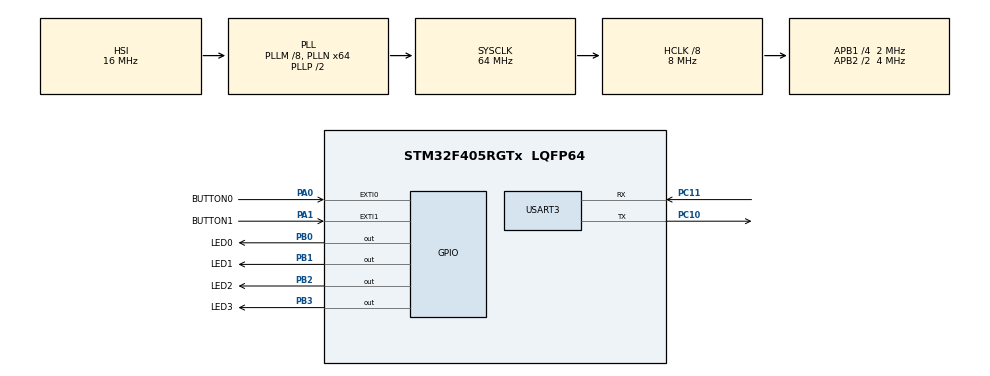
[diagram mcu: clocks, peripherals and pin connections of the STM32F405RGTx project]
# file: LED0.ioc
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FREERTOS.INCLUDE_vTaskDelayUntil=1
FREERTOS.Tasks01=defaultTask,-3,128,StartDefaultTask,Default,NULL,Dynamic,NULL,NULL;myTask02,-3,128,StartTask02,Default,NULL,Dynamic,NULL,NULL;myTask03,-3,128,StartTask03,Default,NULL,Dynamic,NULL,NULL
Mcu.Family=STM32F4
Mcu.Name=STM32F405RGTx
Mcu.Package=LQFP64
NVIC.EXTI0_IRQn=true\:5\:0\:false\:false\:true\:false\:true\:true\:true
NVIC.EXTI1_IRQn=true\:5\:0\:false\:false\:true\:false\:true\:true\:true
NVIC.PriorityGroup=NVIC_PRIORITYGROUP_4
NVIC.TIM1_UP_TIM10_IRQn=true\:15\:0\:false\:false\:true\:false\:false\:true\:true
NVIC.TIM2_IRQn=true\:5\:0\:false\:false\:true\:true\:true\:true\:true
NVIC.TimeBase=TIM1_UP_TIM10_IRQn
NVIC.TimeBaseIP=TIM1
NVIC.USART3_IRQn=true\:5\:0\:false\:false\:true\:true\:true\:true\:true
PA0-WKUP.GPIO_Label=BUTTON0
PA0-WKUP.GPIO_ModeDefaultEXTI=GPIO_MODE_IT_FALLING
PA0-WKUP.GPIO_PuPd=GPIO_PULLUP
PA0-WKUP.Signal=GPXTI0
PA1.GPIO_Label=BUTTON1
PA1.GPIO_ModeDefaultEXTI=GPIO_MODE_IT_FALLING
PA1.GPIO_PuPd=GPIO_PULLUP
PA1.Signal=GPXTI1
PA13.Mode=Serial_Wire
PA13.Signal=SYS_JTMS-SWDIO
PA14.Mode=Serial_Wire
PA14.Signal=SYS_JTCK-SWCLK
PB0.GPIO_Label=LED0
PB0.Signal=GPIO_Output
PB1.GPIO_Label=LED1
PB1.Signal=GPIO_Output
PB2.GPIO_Label=LED2
PB2.Signal=GPIO_Output
PB3.GPIO_Label=LED3
PB3.Signal=GPIO_Output
PC10.Mode=Asynchronous
PC10.Signal=USART3_TX
PC11.Mode=Asynchronous
PC11.Signal=USART3_RX
ProjectManager.HeapSize=0x200
ProjectManager.StackSize=0x400
ProjectManager.TargetToolchain=STM32CubeIDE
RCC.48MHZClocksFreq_Value=32000000
RCC.AHBCLKDivider=RCC_SYSCLK_DIV8
RCC.AHBFreq_Value=8000000
RCC.APB1CLKDivider=RCC_HCLK_DIV4
RCC.APB1Freq_Value=2000000
RCC.APB1TimFreq_Value=4000000
RCC.APB2CLKDivider=RCC_HCLK_DIV2
RCC.APB2Freq_Value=4000000
RCC.APB2TimFreq_Value=8000000
RCC.CortexFreq_Value=8000000
RCC.HCLKFreq_Value=8000000
RCC.HSE_VALUE=25000000
RCC.HSI_VALUE=16000000
RCC.LSE_VALUE=32768
RCC.PLLM=8
RCC.PLLN=64
RCC.SYSCLKFreq_VALUE=64000000
RCC.SYSCLKSource=RCC_SYSCLKSOURCE_PLLCLK
RCC.VCOOutputFreq_Value=128000000
TIM2.AutoReloadPreload=TIM_AUTORELOAD_PRELOAD_ENABLE
TIM2.Period=499
TIM2.Prescaler=8000
USART3.VirtualMode=VM_ASYNC
VP_FREERTOS_VS_CMSIS_V1.Mode=CMSIS_V1
VP_SYS_VS_tim1.Mode=TIM1
VP_TIM2_VS_ClockSourceINT.Mode=Internal
board=custom

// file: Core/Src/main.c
/* USER CODE BEGIN Header */
/**
  ******************************************************************************
  * @file           : main.c
  * @brief          : Main program body
  ******************************************************************************
  * @attention
  *
  * Copyright (c) 2022 STMicroelectronics.
  * All rights reserved.
  *
  * This software is licensed under terms that can be found in the LICENSE file
  * in the root directory of this software component.
  * If no LICENSE file comes with this software, it is provided AS-IS.
  *
  ******************************************************************************
  */
/* USER CODE END Header */
#include "main.h"
#include "cmsis_os.h"

/* USER CODE BEGIN Includes */
#include "stdio.h"
/* USER CODE END Includes */

/* USER CODE BEGIN PTD */
uint8_t u8_RxBuff[30];
uint8_t u8_RxBuff2[30];
uint8_t * u8_RxPointer;
uint8_t u8_RxData;
uint8_t u8_TxBuff[30] = "Program is running...\n\r";
uint8_t u8_TxMes[30] = "Message received\n\r";
int _rxIndex = 0;
uint8_t Tx_Flag = 0;
uint8_t EndLine [4] = "\n\r";
uint8_t Empty;

uint32_t PreviousWakeTime;
/* USER CODE END PTD */

TIM_HandleTypeDef htim2;

UART_HandleTypeDef huart3;

osThreadId defaultTaskHandle;
osThreadId myTask02Handle;
osThreadId myTask03Handle;
/* USER CODE BEGIN PV */
#ifdef __GNUC__
/* With GCC/RAISONANCE, small printf (option LD Linker->Libraries->Small printf
 set to 'Yes') calls __io_putchar() */
#define PUTCHAR_PROTOTYPE int __io_putchar(int ch)
#else
 #define PUTCHAR_PROTOTYPE int fputc(int ch, FILE *f)
#endif /* __GNUC__ */

/**
 * @brief Retargets the C library printf function to the USART.
 * @param None
 * @retval None
 */
PUTCHAR_PROTOTYPE
{
  /* Place your implementation of fputc here */
  /* e.g. write a character to the USART */
  HAL_UART_Transmit(&huart3, (uint8_t*) &ch, 1, 100);
  return ch;
}

/* USER CODE END PV */

void SystemClock_Config(void);
static void MX_GPIO_Init(void);
static void MX_USART3_UART_Init(void);
static void MX_TIM2_Init(void);
void StartDefaultTask(void const * argument);
void StartTask02(void const * argument);
void StartTask03(void const * argument);

/* USER CODE BEGIN 0 */
void HAL_UART_RxCpltCallback(UART_HandleTypeDef *huart)
{
  /* Prevent unused argument(s) compilation warning */
  UNUSED(huart);
  if(huart->Instance == USART3)
  {
	  if(u8_RxData != 13)
	  {
		  u8_RxBuff[_rxIndex] = u8_RxData;
		  _rxIndex ++;

	  }
	  else
	  {
		  osThreadResume(myTask03Handle);
	  }

	  HAL_UART_Receive_IT(&huart3, &u8_RxData, 1);
//	  HAL_UART_Receive_IT(&huart3, u8_RxBuff, 2);
  }
  /* NOTE: This function should not be modified, when the callback is needed,
           the HAL_UART_RxCpltCallback could be implemented in the user file
   */
}
/* USER CODE END 0 */

int main(void)
{

  /* MCU Configuration--------------------------------------------------------*/

  /* Reset of all peripherals, Initializes the Flash interface and the Systick. */
  HAL_Init();

  /* Configure the system clock */
  SystemClock_Config();

  /* Initialize all configured peripherals */
  MX_GPIO_Init();
  MX_USART3_UART_Init();
  MX_TIM2_Init();

  /* Create the thread(s) */
  /* definition and creation of defaultTask */
  osThreadDef(defaultTask, StartDefaultTask, osPriorityIdle, 0, 128);
  defaultTaskHandle = osThreadCreate(osThread(defaultTask), NULL);

  /* definition and creation of myTask02 */
  osThreadDef(myTask02, StartTask02, osPriorityIdle, 0, 128);
  myTask02Handle = osThreadCreate(osThread(myTask02), NULL);

  /* definition and creation of myTask03 */
  osThreadDef(myTask03, StartTask03, osPriorityIdle, 0, 128);
  myTask03Handle = osThreadCreate(osThread(myTask03), NULL);

  /* Start scheduler */
  osKernelStart();

  /* We should never get here as control is now taken by the scheduler */
  /* Infinite loop */
  while (1)
  {

    /* USER CODE BEGIN 3 */
	  HAL_GPIO_TogglePin(LED0_GPIO_Port, LED0_Pin);
	  HAL_Delay(100);
  }
  /* USER CODE END 3 */
}

void SystemClock_Config(void)
{
  RCC_OscInitTypeDef RCC_OscInitStruct = {0};
  RCC_ClkInitTypeDef RCC_ClkInitStruct = {0};

  /** Configure the main internal regulator output voltage
  */
  __HAL_RCC_PWR_CLK_ENABLE();
  __HAL_PWR_VOLTAGESCALING_CONFIG(PWR_REGULATOR_VOLTAGE_SCALE1);

  /** Initializes the RCC Oscillators according to the specified parameters
  * in the RCC_OscInitTypeDef structure.
  */
  RCC_OscInitStruct.OscillatorType = RCC_OSCILLATORTYPE_HSI;
  RCC_OscInitStruct.HSIState = RCC_HSI_ON;
  RCC_OscInitStruct.HSICalibrationValue = RCC_HSICALIBRATION_DEFAULT;
  RCC_OscInitStruct.PLL.PLLState = RCC_PLL_ON;
  RCC_OscInitStruct.PLL.PLLSource = RCC_PLLSOURCE_HSI;
  RCC_OscInitStruct.PLL.PLLM = 8;
  RCC_OscInitStruct.PLL.PLLN = 64;
  RCC_OscInitStruct.PLL.PLLP = RCC_PLLP_DIV2;
  RCC_OscInitStruct.PLL.PLLQ = 4;
  if (HAL_RCC_OscConfig(&RCC_OscInitStruct) != HAL_OK)
  {
    Error_Handler();
  }

  /** Initializes the CPU, AHB and APB buses clocks
  */
  RCC_ClkInitStruct.ClockType = RCC_CLOCKTYPE_HCLK|RCC_CLOCKTYPE_SYSCLK
                              |RCC_CLOCKTYPE_PCLK1|RCC_CLOCKTYPE_PCLK2;
  RCC_ClkInitStruct.SYSCLKSource = RCC_SYSCLKSOURCE_PLLCLK;
  RCC_ClkInitStruct.AHBCLKDivider = RCC_SYSCLK_DIV8;
  RCC_ClkInitStruct.APB1CLKDivider = RCC_HCLK_DIV4;
  RCC_ClkInitStruct.APB2CLKDivider = RCC_HCLK_DIV2;

  if (HAL_RCC_ClockConfig(&RCC_ClkInitStruct, FLASH_LATENCY_0) != HAL_OK)
  {
    Error_Handler();
  }
}

static void MX_TIM2_Init(void)
{

  TIM_ClockConfigTypeDef sClockSourceConfig = {0};
  TIM_MasterConfigTypeDef sMasterConfig = {0};

  htim2.Instance = TIM2;
  htim2.Init.Prescaler = 8000;
  htim2.Init.CounterMode = TIM_COUNTERMODE_UP;
  htim2.Init.Period = 499;
  htim2.Init.ClockDivision = TIM_CLOCKDIVISION_DIV1;
  htim2.Init.AutoReloadPreload = TIM_AUTORELOAD_PRELOAD_ENABLE;
  if (HAL_TIM_Base_Init(&htim2) != HAL_OK)
  {
    Error_Handler();
  }
  sClockSourceConfig.ClockSource = TIM_CLOCKSOURCE_INTERNAL;
  if (HAL_TIM_ConfigClockSource(&htim2, &sClockSourceConfig) != HAL_OK)
  {
    Error_Handler();
  }
  sMasterConfig.MasterOutputTrigger = TIM_TRGO_RESET;
  sMasterConfig.MasterSlaveMode = TIM_MASTERSLAVEMODE_DISABLE;
  if (HAL_TIMEx_MasterConfigSynchronization(&htim2, &sMasterConfig) != HAL_OK)
  {
    Error_Handler();
  }

}

static void MX_USART3_UART_Init(void)
{

  huart3.Instance = USART3;
  huart3.Init.BaudRate = 115200;
  huart3.Init.WordLength = UART_WORDLENGTH_8B;
  huart3.Init.StopBits = UART_STOPBITS_1;
  huart3.Init.Parity = UART_PARITY_NONE;
  huart3.Init.Mode = UART_MODE_TX_RX;
  huart3.Init.HwFlowCtl = UART_HWCONTROL_NONE;
  huart3.Init.OverSampling = UART_OVERSAMPLING_16;
  if (HAL_UART_Init(&huart3) != HAL_OK)
  {
    Error_Handler();
  }

}

static void MX_GPIO_Init(void)
{
  GPIO_InitTypeDef GPIO_InitStruct = {0};

  /* GPIO Ports Clock Enable */
  __HAL_RCC_GPIOA_CLK_ENABLE();
  __HAL_RCC_GPIOB_CLK_ENABLE();
  __HAL_RCC_GPIOC_CLK_ENABLE();

  /*Configure GPIO pin Output Level */
  HAL_GPIO_WritePin(GPIOB, LED0_Pin|LED1_Pin|LED2_Pin|LED3_Pin, GPIO_PIN_RESET);

  /*Configure GPIO pins : BUTTON0_Pin BUTTON1_Pin */
  GPIO_InitStruct.Pin = BUTTON0_Pin|BUTTON1_Pin;
  GPIO_InitStruct.Mode = GPIO_MODE_IT_FALLING;
  GPIO_InitStruct.Pull = GPIO_PULLUP;
  HAL_GPIO_Init(GPIOA, &GPIO_InitStruct);

  /*Configure GPIO pins : LED0_Pin LED1_Pin LED2_Pin LED3_Pin */
  GPIO_InitStruct.Pin = LED0_Pin|LED1_Pin|LED2_Pin|LED3_Pin;
  GPIO_InitStruct.Mode = GPIO_MODE_OUTPUT_PP;
  GPIO_InitStruct.Pull = GPIO_NOPULL;
  GPIO_InitStruct.Speed = GPIO_SPEED_FREQ_LOW;
  HAL_GPIO_Init(GPIOB, &GPIO_InitStruct);

  /* EXTI interrupt init*/
  HAL_NVIC_SetPriority(EXTI0_IRQn, 5, 0);
  HAL_NVIC_EnableIRQ(EXTI0_IRQn);

  HAL_NVIC_SetPriority(EXTI1_IRQn, 5, 0);
  HAL_NVIC_EnableIRQ(EXTI1_IRQn);

}

void StartDefaultTask(void const * argument)
{
  /* USER CODE BEGIN 5 */
  /* Infinite loop */
  for(;;)
  {
	  HAL_UART_Receive_IT(&huart3, &u8_RxData, 1);
	  osThreadSuspend(defaultTaskHandle);
  }
  /* USER CODE END 5 */
}

void StartTask02(void const * argument)
{
  /* USER CODE BEGIN StartTask02 */
  /* Infinite loop */
  for(;;)
  {
	  PreviousWakeTime = osKernelSysTick();
	  HAL_UART_Transmit(&huart3, u8_TxBuff, sizeof(u8_TxBuff), 100);
	  osDelayUntil(&PreviousWakeTime, 500);

  }
  /* USER CODE END StartTask02 */
}

void StartTask03(void const * argument)
{
  /* USER CODE BEGIN StartTask03 */
  /* Infinite loop */
  for(;;)
  {
	  osThreadSuspend(myTask03Handle);
//	  switch((char)u8_RxBuff)
//	  {
//	  case '00':
//		  {
//			  HAL_GPIO_WritePin(LED0_GPIO_Port, LED0_Pin, 0);
//			  HAL_GPIO_WritePin(LED1_GPIO_Port, LED1_Pin, 0);
//		  }
//		  break;
//	  case '01':
//	  	  {
//	  		  HAL_GPIO_WritePin(LED0_GPIO_Port, LED0_Pin, 0);
//	  		  HAL_GPIO_WritePin(LED1_GPIO_Port, LED1_Pin, 1);
//	  	  }
//	  	  break;
//	  case '10':
//		  {
//			  HAL_GPIO_WritePin(LED0_GPIO_Port, LED0_Pin, 1);
//			  HAL_GPIO_WritePin(LED1_GPIO_Port, LED1_Pin, 0);
//		  }
//		  break;
//	  case '11':
//		  {
//			  HAL_GPIO_WritePin(LED0_GPIO_Port, LED0_Pin, 0);
//			  HAL_GPIO_WritePin(LED1_GPIO_Port, LED1_Pin, 0);
//		  }
//		  break;
//	  default:
//		  {
//			  HAL_UART_Transmit(&huart3, u8_RxBuff, sizeof(u8_RxBuff), 100);
//		  }
//		  break;
//	  }
	  for(int i = _rxIndex;i<30;i++)
	  	  {
	  		  u8_RxBuff[i] = Empty;
	  	  }
//	  if((u8_RxBuff == "00") || (u8_RxBuff == "01") || (u8_RxBuff == "10") ||(u8_RxBuff == "11"))
	  {
		  if(u8_RxBuff[0] == '0')
			  u8_RxBuff2[0] = 0;
		  else
			  u8_RxBuff2[0] = 1;
		  if(u8_RxBuff[1] == '0')
			  u8_RxBuff2[1] = 0;
		  else
			  u8_RxBuff2[1] = 1;

		  HAL_GPIO_WritePin(LED0_GPIO_Port, LED0_Pin, u8_RxBuff2[0]);
		  HAL_GPIO_WritePin(LED1_GPIO_Port, LED1_Pin, u8_RxBuff2[1]);
	  }
//	  else
	  {
//	  	  HAL_UART_Transmit(&huart3, _rxIndex, sizeof(_rxIndex), 100);
		  HAL_UART_Transmit(&huart3, EndLine, sizeof(EndLine), 100);
		  HAL_UART_Transmit(&huart3, u8_RxBuff, sizeof(u8_RxBuff), 100);
		  HAL_UART_Transmit(&huart3, EndLine, sizeof(EndLine), 100);
	  }
	  _rxIndex = 0;
	  u8_RxBuff[30] = "";
  }
  /* USER CODE END StartTask03 */
}

void HAL_TIM_PeriodElapsedCallback(TIM_HandleTypeDef *htim)
{
  if (htim->Instance == TIM1) {
    HAL_IncTick();
  }
}

void Error_Handler(void)
{
  __disable_irq();
  while (1)
  {
  }
}
